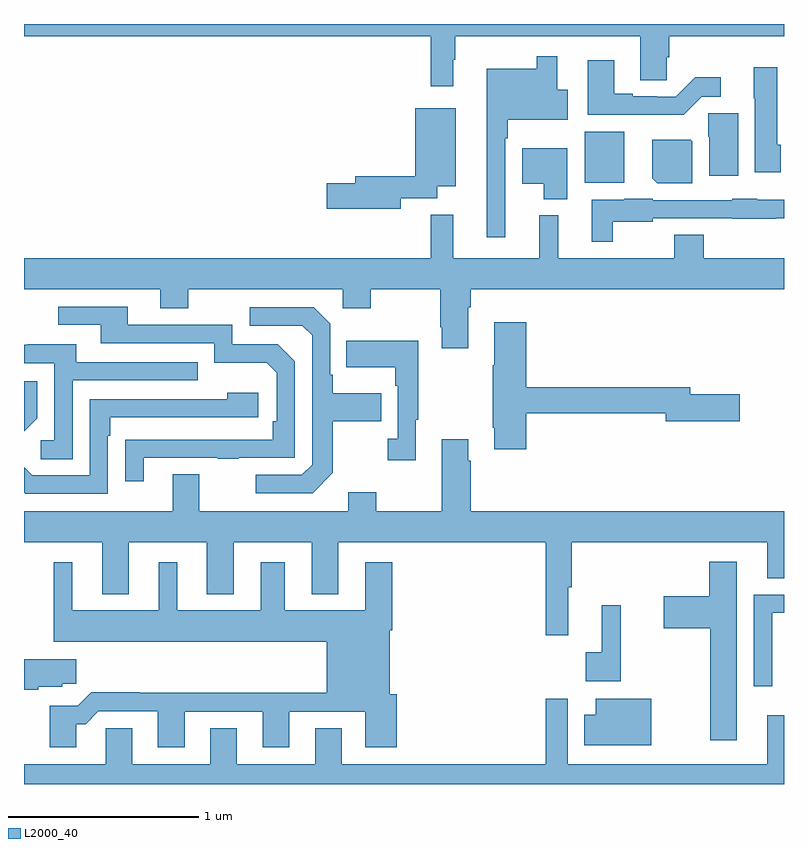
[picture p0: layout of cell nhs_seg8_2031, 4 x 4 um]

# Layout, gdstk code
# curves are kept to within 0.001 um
import gdstk
lib = gdstk.Library(unit=1e-6, precision=1e-09)
def R(c, l, rs):  # rectangles x0, y0, x1, y1
    for r in rs: c.add(gdstk.rectangle(r[:2], r[2:], *l))
def P(c, l, *ps):  # polygons
    for p in ps: c.add(gdstk.Polygon(p, *l))
L2000_40 = (2000, 40)

nhs_seg8_2031 = lib.new_cell('nhs_seg8_2031')
R(nhs_seg8_2031, L2000_40, [(241.952,1113.065,242.158,1113.334)])
P(nhs_seg8_2031, L2000_40, [(241.258,1113.713),(241.27,1113.713),(241.27,1113.836),(242.243,1113.836),(242.243,1113.604),(242.382,1113.604),(242.382,1113.726),(242.396,1113.726),(242.396,1113.836),(243,1113.836),(243,1113.9),(239,1113.9),(239,1113.836),(241.141,1113.836),(241.141,1113.573),(241.258,1113.573)],
  [(241.533,1113.299),(241.546,1113.299),(241.546,1113.395),(241.861,1113.395),(241.861,1113.553),(241.807,1113.553),(241.807,1113.73),(241.698,1113.73),(241.698,1113.664),(241.436,1113.664),(241.436,1112.778),(241.533,1112.778)],
  [(242.568,1113.516),(242.668,1113.516),(242.668,1113.619),(242.533,1113.619),(242.43,1113.516),(242.33,1113.516),(242.33,1113.519),(242.203,1113.519),(242.203,1113.532),(242.107,1113.532),(242.107,1113.709),(241.967,1113.709),(241.967,1113.422),(242.473,1113.422)],
  [(242.983,1113.264),(242.965,1113.264),(242.965,1113.673),(242.84,1113.673),(242.84,1113.51),(242.846,1113.51),(242.846,1113.12),(242.983,1113.12)],
  [(240.982,1112.982),(241.174,1112.982),(241.174,1113.047),(241.273,1113.047),(241.273,1113.457),(241.058,1113.457),(241.058,1113.098),(240.743,1113.098),(240.743,1113.062),(240.594,1113.062),(240.594,1112.927),(240.982,1112.927)],
  [(242.758,1113.429),(242.602,1113.429),(242.602,1113.306),(242.606,1113.306),(242.606,1113.102),(242.758,1113.102)],
  [(242.518,1113.284),(242.51,1113.292),(242.306,1113.292),(242.306,1113.088),(242.332,1113.062),(242.518,1113.062)],
  [(241.858,1113.247),(241.622,1113.247),(241.622,1113.059),(241.736,1113.059),(241.736,1112.978),(241.858,1112.978)],
  [(242.098,1112.858),(242.31,1112.858),(242.31,1112.877),(242.727,1112.877),(242.727,1112.876),(242.959,1112.876),(242.959,1112.877),(243,1112.877),(243,1112.974),(242.859,1112.974),(242.859,1112.98),(242.727,1112.98),(242.727,1112.973),(242.31,1112.973),(242.31,1112.98),(242.16,1112.98),(242.16,1112.974),(241.988,1112.974),(241.988,1112.753),(242.098,1112.753)],
  [(243,1112.668),(242.577,1112.668),(242.577,1112.792),(242.422,1112.792),(242.422,1112.668),(241.811,1112.668),(241.811,1112.893),(241.712,1112.893),(241.712,1112.668),(241.259,1112.668),(241.259,1112.897),(241.141,1112.897),(241.141,1112.668),(239,1112.668),(239,1112.504),(239.717,1112.504),(239.717,1112.405),(239.865,1112.405),(239.865,1112.504),(240.678,1112.504),(240.678,1112.405),(240.825,1112.405),(240.825,1112.504),(241.192,1112.504),(241.192,1112.305),(241.199,1112.305),(241.199,1112.193),(241.339,1112.193),(241.339,1112.408),(241.352,1112.408),(241.352,1112.504),(243,1112.504)],
  [(239.629,1111.617),(240.019,1111.617),(240.019,1111.612),(240.131,1111.612),(240.131,1111.617),(240.426,1111.617),(240.426,1112.124),(240.336,1112.214),(240.096,1112.214),(240.096,1112.316),(239.545,1112.316),(239.545,1112.412),(239.181,1112.412),(239.181,1112.316),(239.405,1112.316),(239.405,1112.22),(240,1112.22),(240,1112.117),(240.277,1112.117),(240.33,1112.064),(240.33,1111.81),(240.31,1111.81),(240.31,1111.713),(239.533,1111.712),(239.533,1111.494),(239.629,1111.494)],
  [(240.625,1111.537),(240.625,1111.81),(240.881,1111.81),(240.881,1111.957),(240.625,1111.957),(240.625,1112.053),(240.612,1112.053),(240.612,1112.322),(240.525,1112.409),(240.189,1112.409),(240.189,1112.313),(240.465,1112.313),(240.516,1112.262),(240.516,1111.581),(240.462,1111.527),(240.219,1111.527),(240.219,1111.431),(240.519,1111.431)],
  [(241.643,1111.852),(242.378,1111.852),(242.378,1111.81),(242.767,1111.81),(242.767,1111.952),(242.506,1111.952),(242.506,1111.988),(241.643,1111.988),(241.643,1112.329),(241.475,1112.329),(241.475,1112.105),(241.468,1112.105),(241.468,1111.774),(241.475,1111.774),(241.475,1111.662),(241.643,1111.662)],
  [(241.063,1111.817),(241.075,1111.817),(241.075,1112.233),(240.697,1112.233),(240.697,1112.093),(240.954,1112.093),(240.954,1111.997),(240.966,1111.997),(240.966,1111.718),(240.915,1111.718),(240.915,1111.605),(241.063,1111.605)],
  [(239.256,1112.025),(239.915,1112.025),(239.915,1112.121),(239.275,1112.121),(239.275,1112.215),(239.021,1112.215),(239.021,1112.211),(239,1112.211),(239,1112.115),(239.16,1112.115),(239.16,1111.71),(239.088,1111.71),(239.088,1111.609),(239.256,1111.609)],
  [(239.07,1111.826),(239.07,1112.02),(239,1112.02),(239,1111.756)],
  [(239.442,1111.733),(239.455,1111.733),(239.455,1111.83),(240.232,1111.83),(240.232,1111.96),(240.071,1111.96),(240.071,1111.926),(239.346,1111.926),(239.346,1111.524),(239.043,1111.524),(239,1111.567),(239,1111.435),(239.007,1111.428),(239.442,1111.428)],
  [(241.865,1110.936),(241.883,1110.936),(241.883,1111.172),(242.912,1111.172),(242.912,1110.982),(243,1110.982),(243,1111.336),(241.352,1111.336),(241.352,1111.601),(241.339,1111.601),(241.339,1111.714),(241.199,1111.714),(241.199,1111.336),(240.855,1111.336),(240.855,1111.435),(240.707,1111.435),(240.707,1111.336),(239.923,1111.336),(239.923,1111.531),(239.783,1111.531),(239.783,1111.336),(239,1111.336),(239,1111.172),(239.411,1111.172),(239.411,1110.899),(239.551,1110.899),(239.551,1111.172),(239.963,1111.172),(239.963,1110.899),(240.103,1110.899),(240.103,1111.172),(240.515,1111.172),(240.515,1110.899),(240.655,1110.899),(240.655,1111.172),(241.747,1111.172),(241.747,1110.684),(241.865,1110.684)],
  [(242.752,1111.069),(242.606,1111.069),(242.606,1110.889),(242.367,1110.889),(242.367,1110.719),(242.611,1110.719),(242.611,1110.129),(242.752,1110.129)],
  [(239.275,1110.215),(239.324,1110.215),(239.391,1110.282),(239.705,1110.282),(239.705,1110.093),(239.845,1110.093),(239.845,1110.279),(240.257,1110.279),(240.257,1110.093),(240.397,1110.093),(240.397,1110.279),(240.797,1110.279),(240.797,1110.093),(240.962,1110.093),(240.962,1110.372),(240.925,1110.372),(240.925,1110.71),(240.938,1110.71),(240.938,1111.066),(240.797,1111.066),(240.797,1110.814),(240.373,1110.814),(240.373,1111.066),(240.245,1111.066),(240.245,1110.814),(239.806,1110.814),(239.806,1111.066),(239.708,1111.066),(239.708,1110.814),(239.254,1110.814),(239.254,1111.066),(239.156,1111.066),(239.156,1110.65),(240.593,1110.65),(240.593,1110.38),(239.609,1110.38),(239.609,1110.383),(239.354,1110.383),(239.283,1110.312),(239.135,1110.312),(239.135,1110.093),(239.275,1110.093)],
  [(242.937,1110.801),(243,1110.801),(243,1110.897),(242.841,1110.897),(242.841,1110.414),(242.937,1110.414)],
  [(242.142,1110.841),(242.042,1110.841),(242.042,1110.593),(241.956,1110.593),(241.956,1110.44),(242.142,1110.44)],
  [(239.076,1110.413),(239.202,1110.413),(239.202,1110.427),(239.275,1110.427),(239.275,1110.556),(239,1110.556),(239,1110.395),(239.076,1110.395)],
  [(242.302,1110.349),(242.009,1110.349),(242.009,1110.265),(241.948,1110.265),(241.948,1110.104),(242.302,1110.104)],
  [(243,1110.262),(242.912,1110.262),(242.912,1110.004),(241.863,1110.004),(241.863,1110.349),(241.747,1110.349),(241.747,1110.004),(240.673,1110.004),(240.673,1110.194),(240.533,1110.194),(240.533,1110.004),(240.121,1110.004),(240.121,1110.194),(239.981,1110.194),(239.981,1110.004),(239.569,1110.004),(239.569,1110.194),(239.43,1110.194),(239.43,1110.004),(239,1110.004),(239,1109.9),(243,1109.9)])

lib.write_gds('nhs_seg8_2031.gds')
